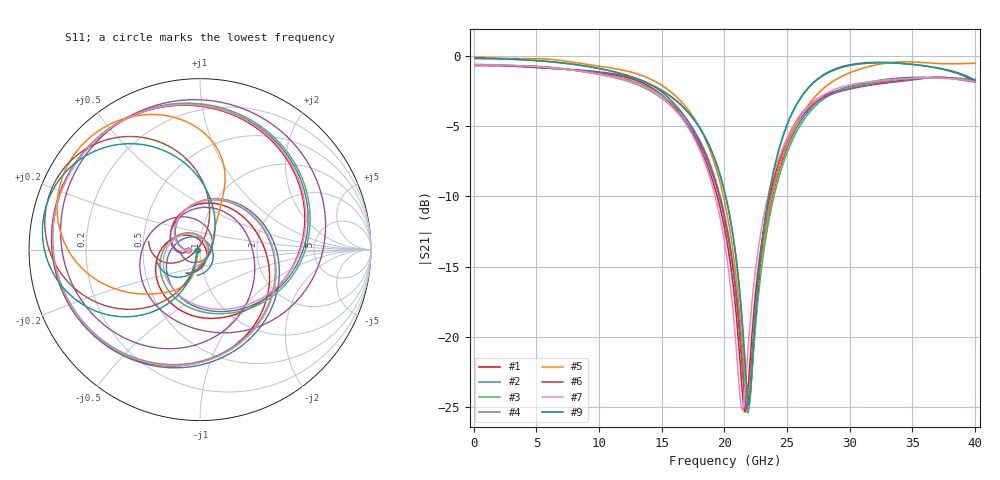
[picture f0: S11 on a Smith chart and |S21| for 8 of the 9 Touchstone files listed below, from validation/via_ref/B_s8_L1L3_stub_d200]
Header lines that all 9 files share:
# Hz S RI R 50
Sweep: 100 MHz to 40 GHz
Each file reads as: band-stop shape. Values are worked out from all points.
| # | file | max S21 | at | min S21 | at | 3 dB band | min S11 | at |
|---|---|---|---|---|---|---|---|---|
| 1 | cst.s2p | -0.66 dB | 200 MHz | -25.3 dB | 21.7 GHz | 100 MHz-16 GHz | -29.7 dB | 37.6 GHz |
| 2 | cst_fine.s2p | -0.62 dB | 200 MHz | -25.2 dB | 21.8 GHz | 100 MHz-15.8 GHz | -24.5 dB | 37.2 GHz |
| 3 | kisi.s2p | -0.59 dB | 100 MHz | -25.4 dB | 21.9 GHz | 100 MHz-16 GHz | -25.9 dB | 38.5 GHz |
| 4 | kisi_base.s2p | -0.69 dB | 1 GHz | -25.1 dB | 21.8 GHz | 100 MHz-16.2 GHz | -24.2 dB | 37.9 GHz |
| 5 | kisi_deembedded.s2p | -0.08 dB | 100 MHz | -24.6 dB | 21.9 GHz | 100 MHz-16.3 GHz | -38.6 dB | 100 MHz |
| 6 | ladder.s2p | -0.17 dB | 100 MHz | -24.7 dB | 21.9 GHz | 100 MHz-16.1 GHz | -36.6 dB | 32.3 GHz |
| 7 | openems.s2p | -0.62 dB | 100 MHz | -25.2 dB | 21.4 GHz | 100 MHz-15.8 GHz | -27.1 dB | 38 GHz |
| 8 | openems_base.s2p | -0.68 dB | 100 MHz | -24.5 dB | 21 GHz | 100 MHz-15.8 GHz | -55.3 dB | 37.9 GHz |
| 9 | pbm.s2p | -0.17 dB | 100 MHz | -24.7 dB | 21.9 GHz | 100 MHz-16.1 GHz | -34.1 dB | 100 MHz |
